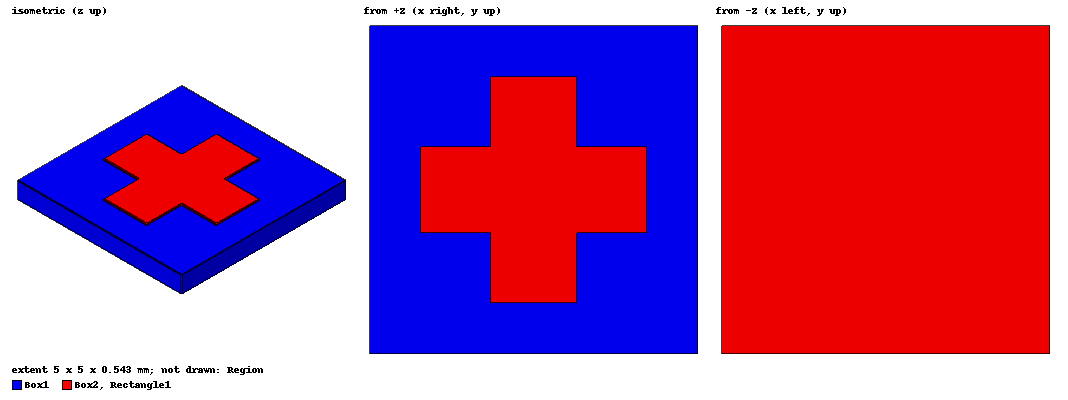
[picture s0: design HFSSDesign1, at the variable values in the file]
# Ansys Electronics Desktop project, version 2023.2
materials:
  vacuum: permittivity=1
  Rogers RT/duroid 5880 (tm): permittivity=2.2 dielectric_loss_tangent=0.0009
  pec: conductivity=1e+30

design HFSSDesign1 (HFSS, HFSS Modal Network, model units mm)
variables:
  margin = 1mm
  H = 0.508mm
  wArm = 1.2mm
  lArm = 3.52mm
  cellSize = 5mm
  Xsize = cellSize
  Ysize = cellSize
  parameters = [1.3038, 3.43, 0.035, 0.508, 5, 0.98] mm
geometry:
  Rectangle1 = rectangle(corner=(0mm, 0mm, 0mm), x_size=parameters[4], y_size=parameters[4])
  Box1 [Rogers RT/duroid 5880 (tm)] = box(corner=(0mm, 0mm, 0mm), size=(parameters[4], parameters[4], H))
  Region [vacuum] = region(absolute_offset: +X=0mm, -X=0mm, +Y=0mm, -Y=0mm, +Z=10mm, -Z=10mm)
  Box2 [pec] = box(corner=(parameters[4]/2 -parameters[0] /2, parameters[4]/2 - parameters[1]/2, H), size=(parameters[0], parameters[1], parameters[2]))
  Box3 = box(corner=(parameters[4]/2 -parameters[1]/2, parameters[4]/2-parameters[0]/2, H), size=(parameters[1], parameters[0], parameters[2]))
  Box2.unite(Box3)
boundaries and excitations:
  PerfE1: Perfect E Objects=Rectangle1
  Primary1: Primary Faces=Region.face(+x) CoordSysVector{(5, 0, 10.543) -> (5, 5, 10.543)}
  Primary2: Primary Faces=Region.face(+y) CoordSysVector{(5, 5, 10.543) -> (0, 5, 10.543)}
  Secondary1: Secondary Faces=Region.face(-y) CoordSysVector{(5, 0, 10.543) -> (0, 0, 10.543)} ReverseV primary=Primary2 PhaseDelay=UseScanAngle Phi=0deg Theta=0deg
  Secondary2: Secondary Faces=Region.face(-x) CoordSysVector{(0, 0, 10.543) -> (0, 5, 10.543)} ReverseV primary=Primary1 PhaseDelay=UseScanAngle Phi=0deg Theta=0deg
  FloquetPort1: Floquet Port Faces=Region.face(+z) NumModes=2 DeembedDist=10mm Modes{Mode1{CharImp=Zpi} Mode2{CharImp=Zpi}} PhaseDelay=UseScanAngle Phi=0deg Theta=0deg LatticeAVector{(5, 0, 10.543) -> (5, 5, 10.543)} LatticeBVector{(5, 0, 10.543) -> (0, 0, 10.543)} ModesList{Mode{ModeNumber=1 IndexM=0 IndexN=0 KC2=0 PropagationState=Propagating Attenuation=0 PolarizationState=TE AffectsRefinement} Mode{ModeNumber=2 IndexM=0 IndexN=0 KC2=0 PropagationState=Propagating Attenuation=0 PolarizationState=TM AffectsRefinement}}
  FloquetPort2: Floquet Port Faces=Region.face(-z) NumModes=2 DeembedDist=10mm Modes{Mode1{CharImp=Zpi} Mode2{CharImp=Zpi}} PhaseDelay=UseScanAngle Phi=0deg Theta=0deg LatticeAVector{(5, 0, -10) -> (5, 5, -10)} LatticeBVector{(5, 0, -10) -> (0, 0, -10)} ModesList{Mode{ModeNumber=1 IndexM=0 IndexN=0 KC2=0 PropagationState=Propagating Attenuation=0 PolarizationState=TE AffectsRefinement} Mode{ModeNumber=2 IndexM=0 IndexN=0 KC2=0 PropagationState=Propagating Attenuation=0 PolarizationState=TM AffectsRefinement}}
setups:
  Setup1: HfssDriven Frequency=76.5GHz MaxDeltaS=0.02 MaximumPasses=5 MinimumPasses=1 MinimumConvergedPasses=1 PercentRefinement=30 BasisOrder=1 PortAccuracy=2 DrivenSolverType="Direct Solver"
    sweep Sweep: 75GHz to 78GHz step 0.03GHz; Type=Interpolating InterpTolerance=0.5 InterpMaxSolns=250 InterpUsePortImped=false PassivityErrorTolerance=0.0001
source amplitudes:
  FloquetPort1:1: 1W 0deg
  FloquetPort1:2, FloquetPort2:1, FloquetPort2:2: 0W 0deg
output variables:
  AbsorbanceTE = 1-((mag(S(FloquetPort1:1,FloquetPort1:1)))^2 +(mag(S(FloquetPort2:1,FloquetPort1:1)))^2)
  AbsorbanceTM = 1-((mag(S(FloquetPort1:2,FloquetPort1:2)))^2 +(mag(S(FloquetPort2:2,FloquetPort1:2)))^2)
  Reflectance = (mag(S(FloquetPort1:1,FloquetPort1:1)))^2
